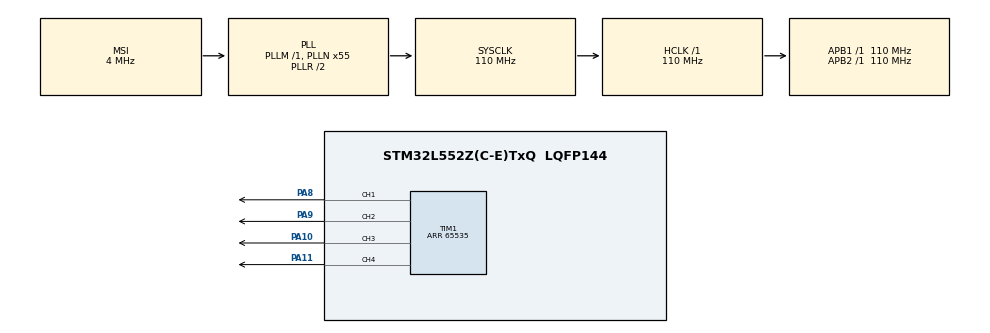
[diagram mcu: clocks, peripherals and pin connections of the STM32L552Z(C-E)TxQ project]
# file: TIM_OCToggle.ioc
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Mcu.Family=STM32L5
Mcu.Name=STM32L552Z(C-E)TxQ
Mcu.Package=LQFP144
NVIC.PriorityGroup=NVIC_PRIORITYGROUP_3
NVIC.TIM1_CC_IRQn=true\:0\:0\:false\:false\:true\:true\:true\:true
PA10.GPIO_PuPd=GPIO_PULLUP
PA10.GPIO_Speed=GPIO_SPEED_FREQ_VERY_HIGH
PA10.Signal=S_TIM1_CH3
PA11.GPIO_PuPd=GPIO_PULLUP
PA11.GPIO_Speed=GPIO_SPEED_FREQ_VERY_HIGH
PA11.Signal=S_TIM1_CH4
PA8.GPIO_PuPd=GPIO_PULLUP
PA8.GPIO_Speed=GPIO_SPEED_FREQ_VERY_HIGH
PA8.Signal=S_TIM1_CH1
PA9.GPIO_PuPd=GPIO_PULLUP
PA9.GPIO_Speed=GPIO_SPEED_FREQ_VERY_HIGH
PA9.Signal=S_TIM1_CH2
ProjectManager.HeapSize=0x200
ProjectManager.StackSize=0x400
ProjectManager.TargetToolchain=EWARM V8.32
RCC.ADCFreq_Value=48000000
RCC.AHBFreq_Value=110000000
RCC.APB1Freq_Value=110000000
RCC.APB1TimFreq_Value=110000000
RCC.APB2Freq_Value=110000000
RCC.APB2TimFreq_Value=110000000
RCC.CortexFreq_Value=110000000
RCC.DATA_CACHE_ENABLE=0
RCC.HCLKFreq_Value=110000000
RCC.HSE_VALUE=16000000
RCC.HSI48_VALUE=48000000
RCC.HSI_VALUE=16000000
RCC.INSTRUCTION_CACHE_ENABLE=0
RCC.LSE_VALUE=32768
RCC.MSI_VALUE=4000000
RCC.PLLN=55
RCC.PLLSAI1N=24
RCC.RTCClockSelection=RCC_RTCCLKSOURCE_LSE
RCC.SYSCLKFreq_VALUE=110000000
RCC.SYSCLKSource=RCC_SYSCLKSOURCE_PLLCLK
RCC.USBFreq_Value=48000000
RCC.VCOOutputFreq_Value=220000000
SH.S_TIM1_CH1.0=TIM1_CH1,Output Compare1 CH1
SH.S_TIM1_CH2.0=TIM1_CH2,Output Compare2 CH2
SH.S_TIM1_CH3.0=TIM1_CH3,Output Compare3 CH3
SH.S_TIM1_CH4.0=TIM1_CH4,Output Compare4 CH4
TIM1.AutoReloadPreload=TIM_AUTORELOAD_PRELOAD_DISABLE
TIM1.AutomaticOutput=TIM_AUTOMATICOUTPUT_DISABLE
TIM1.Break2Filter=0
TIM1.Break2Polarity=TIM_BREAK2POLARITY_HIGH
TIM1.Break2State=TIM_BREAK2_DISABLE
TIM1.BreakFilter=0
TIM1.BreakPolarity=TIM_BREAKPOLARITY_HIGH
TIM1.BreakState=TIM_BREAK_DISABLE
TIM1.Channel-Output\ Compare1\ CH1=TIM_CHANNEL_1
TIM1.Channel-Output\ Compare2\ CH2=TIM_CHANNEL_2
TIM1.Channel-Output\ Compare3\ CH3=TIM_CHANNEL_3
TIM1.Channel-Output\ Compare4\ CH4=TIM_CHANNEL_4
TIM1.ClearInputSource=TIM_CLEARINPUTSOURCE_NONE
TIM1.ClockDivision=TIM_CLOCKDIVISION_DIV1
TIM1.CounterMode=TIM_COUNTERMODE_UP
TIM1.LockLevel=TIM_LOCKLEVEL_OFF
TIM1.OCIdleState_1=TIM_OCIDLESTATE_RESET
TIM1.OCIdleState_2=TIM_OCIDLESTATE_RESET
TIM1.OCIdleState_3=TIM_OCIDLESTATE_RESET
TIM1.OCIdleState_4=TIM_OCIDLESTATE_RESET
TIM1.OCMode_1=TIM_OCMODE_TOGGLE
TIM1.OCMode_2=TIM_OCMODE_TOGGLE
TIM1.OCMode_3=TIM_OCMODE_TOGGLE
TIM1.OCMode_4=TIM_OCMODE_TOGGLE
TIM1.OCPolarity_1=TIM_OCPOLARITY_LOW
TIM1.OCPolarity_2=TIM_OCPOLARITY_LOW
TIM1.OCPolarity_3=TIM_OCPOLARITY_LOW
TIM1.OCPolarity_4=TIM_OCPOLARITY_LOW
TIM1.OffStateIDLEMode=TIM_OSSI_DISABLE
TIM1.OffStateRunMode=TIM_OSSR_DISABLE
TIM1.Period=65535
TIM1.Prescaler=PRESCALER_VALUE
TIM1.Pulse-Output\ Compare1\ CH1=PULSE1_VALUE
TIM1.Pulse-Output\ Compare2\ CH2=PULSE2_VALUE
TIM1.Pulse-Output\ Compare3\ CH3=PULSE3_VALUE
TIM1.Pulse-Output\ Compare4\ CH4=PULSE4_VALUE
TIM1.RepetitionCounter=0
TIM1.SourceBRK2COMP1=TIM_BREAKINPUTSOURCE_DISABLE
TIM1.SourceBRK2COMP2=TIM_BREAKINPUTSOURCE_DISABLE
TIM1.SourceBRK2DFSDM1=TIM_BREAKINPUTSOURCE_DISABLE
TIM1.SourceBRK2DigInput=TIM_BREAKINPUTSOURCE_DISABLE
TIM1.SourceBRKCOMP1=TIM_BREAKINPUTSOURCE_DISABLE
TIM1.SourceBRKCOMP2=TIM_BREAKINPUTSOURCE_DISABLE
TIM1.SourceBRKDFSDM1=TIM_BREAKINPUTSOURCE_DISABLE
TIM1.SourceBRKDigInput=TIM_BREAKINPUTSOURCE_DISABLE
TIM1.TIM_MasterOutputTrigger=TIM_TRGO_RESET
TIM1.TIM_MasterOutputTrigger2=TIM_TRGO2_RESET
TIM1.TIM_MasterSlaveMode=TIM_MASTERSLAVEMODE_DISABLE
VP_ICACHE_VS_ICACHE.Mode=DirectMappedCache
VP_PWR_VS_DBSignals.Mode=DisableDeadBatterySignals
board=custom

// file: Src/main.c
/* USER CODE BEGIN Header */
/**
  ******************************************************************************
  * @file    TIM/TIM_OCToggle/Src/main.c
  * @author  MCD Application Team
  * @brief   This example shows how to configure the Timer to generate four different
  *          signals with four different frequencies.
  ******************************************************************************
  * @attention
  *
  * Copyright (c) 2019 STMicroelectronics.
  * All rights reserved.
  *
  * This software is licensed under terms that can be found in the LICENSE file
  * in the root directory of this software component.
  * If no LICENSE file comes with this software, it is provided AS-IS.
  *
  ******************************************************************************
  */
/* USER CODE END Header */
#include "main.h"

TIM_HandleTypeDef htim1;

void SystemClock_Config(void);
static void MX_GPIO_Init(void);
static void MX_ICACHE_Init(void);
static void MX_TIM1_Init(void);

int main(void)
{
  /* USER CODE BEGIN 1 */

  /* STM32L5xx HAL library initialization:
       - Systick timer is configured by default as source of time base, but user
         can eventually implement his proper time base source (a general purpose
         timer for example or other time source), keeping in mind that Time base
         duration should be kept 1ms since PPP_TIMEOUT_VALUEs are defined and
         handled in milliseconds basis.
       - Set NVIC Group Priority to 3
       - Low Level Initialization
     */
  /* USER CODE END 1 */

  /* MCU Configuration--------------------------------------------------------*/

  /* Reset of all peripherals, Initializes the Flash interface and the Systick. */
  HAL_Init();

  /* Configure the system clock */
  SystemClock_Config();

  /* USER CODE BEGIN SysInit */

  /* Configure LED3 */
  BSP_LED_Init(LED3);

  /* USER CODE END SysInit */

  /* Initialize all configured peripherals */
  MX_GPIO_Init();
  MX_ICACHE_Init();
  MX_TIM1_Init();
  /* USER CODE BEGIN 2 */

  /*## Start signals generation #######################################*/
  /* Start channel 1 in Output compare mode */
  if(HAL_TIM_OC_Start_IT(&htim1, TIM_CHANNEL_1) != HAL_OK)
  {
    /* Starting Error */
    Error_Handler();
  }
  /* Start channel 2 in Output compare mode */
  if(HAL_TIM_OC_Start_IT(&htim1, TIM_CHANNEL_2) != HAL_OK)
  {
    /* Starting Error */
    Error_Handler();
  }
  /* Start channel 3 in Output compare mode */
  if(HAL_TIM_OC_Start_IT(&htim1, TIM_CHANNEL_3) != HAL_OK)
  {
    /* Starting Error */
    Error_Handler();
  }
  /* Start channel 4 in Output compare mode */
  if(HAL_TIM_OC_Start_IT(&htim1, TIM_CHANNEL_4) != HAL_OK)
  {
    /* Starting Error */
    Error_Handler();
  }
  /* USER CODE END 2 */

  /* Infinite loop */
  while (1)
  {

  }
}

void SystemClock_Config(void)
{
  RCC_OscInitTypeDef RCC_OscInitStruct = {0};
  RCC_ClkInitTypeDef RCC_ClkInitStruct = {0};

  /** Configure the main internal regulator output voltage
  */
  if (HAL_PWREx_ControlVoltageScaling(PWR_REGULATOR_VOLTAGE_SCALE0) != HAL_OK)
  {
    Error_Handler();
  }

  /** Initializes the RCC Oscillators according to the specified parameters
  * in the RCC_OscInitTypeDef structure.
  */
  RCC_OscInitStruct.OscillatorType = RCC_OSCILLATORTYPE_MSI;
  RCC_OscInitStruct.MSIState = RCC_MSI_ON;
  RCC_OscInitStruct.MSICalibrationValue = RCC_MSICALIBRATION_DEFAULT;
  RCC_OscInitStruct.MSIClockRange = RCC_MSIRANGE_6;
  RCC_OscInitStruct.PLL.PLLState = RCC_PLL_ON;
  RCC_OscInitStruct.PLL.PLLSource = RCC_PLLSOURCE_MSI;
  RCC_OscInitStruct.PLL.PLLM = 1;
  RCC_OscInitStruct.PLL.PLLN = 55;
  RCC_OscInitStruct.PLL.PLLP = RCC_PLLP_DIV7;
  RCC_OscInitStruct.PLL.PLLQ = RCC_PLLQ_DIV2;
  RCC_OscInitStruct.PLL.PLLR = RCC_PLLR_DIV2;
  if (HAL_RCC_OscConfig(&RCC_OscInitStruct) != HAL_OK)
  {
    Error_Handler();
  }

  /** Initializes the CPU, AHB and APB buses clocks
  */
  RCC_ClkInitStruct.ClockType = RCC_CLOCKTYPE_HCLK|RCC_CLOCKTYPE_SYSCLK
                              |RCC_CLOCKTYPE_PCLK1|RCC_CLOCKTYPE_PCLK2;
  RCC_ClkInitStruct.SYSCLKSource = RCC_SYSCLKSOURCE_PLLCLK;
  RCC_ClkInitStruct.AHBCLKDivider = RCC_SYSCLK_DIV1;
  RCC_ClkInitStruct.APB1CLKDivider = RCC_HCLK_DIV1;
  RCC_ClkInitStruct.APB2CLKDivider = RCC_HCLK_DIV1;

  if (HAL_RCC_ClockConfig(&RCC_ClkInitStruct, FLASH_LATENCY_5) != HAL_OK)
  {
    Error_Handler();
  }
}

static void MX_ICACHE_Init(void)
{

  /** Enable instruction cache in 1-way (direct mapped cache)
  */
  if (HAL_ICACHE_ConfigAssociativityMode(ICACHE_1WAY) != HAL_OK)
  {
    Error_Handler();
  }
  if (HAL_ICACHE_Enable() != HAL_OK)
  {
    Error_Handler();
  }

}

static void MX_TIM1_Init(void)
{

  TIM_MasterConfigTypeDef sMasterConfig = {0};
  TIM_OC_InitTypeDef sConfigOC = {0};
  TIM_BreakDeadTimeConfigTypeDef sBreakDeadTimeConfig = {0};

  htim1.Instance = TIM1;
  htim1.Init.Prescaler = PRESCALER_VALUE;
  htim1.Init.CounterMode = TIM_COUNTERMODE_UP;
  htim1.Init.Period = 65535;
  htim1.Init.ClockDivision = TIM_CLOCKDIVISION_DIV1;
  htim1.Init.RepetitionCounter = 0;
  htim1.Init.AutoReloadPreload = TIM_AUTORELOAD_PRELOAD_DISABLE;
  if (HAL_TIM_OC_Init(&htim1) != HAL_OK)
  {
    Error_Handler();
  }
  sMasterConfig.MasterOutputTrigger = TIM_TRGO_RESET;
  sMasterConfig.MasterOutputTrigger2 = TIM_TRGO2_RESET;
  sMasterConfig.MasterSlaveMode = TIM_MASTERSLAVEMODE_DISABLE;
  if (HAL_TIMEx_MasterConfigSynchronization(&htim1, &sMasterConfig) != HAL_OK)
  {
    Error_Handler();
  }
  sConfigOC.OCMode = TIM_OCMODE_TOGGLE;
  sConfigOC.Pulse = PULSE1_VALUE;
  sConfigOC.OCPolarity = TIM_OCPOLARITY_LOW;
  sConfigOC.OCNPolarity = TIM_OCNPOLARITY_HIGH;
  sConfigOC.OCFastMode = TIM_OCFAST_DISABLE;
  sConfigOC.OCIdleState = TIM_OCIDLESTATE_RESET;
  sConfigOC.OCNIdleState = TIM_OCNIDLESTATE_RESET;
  if (HAL_TIM_OC_ConfigChannel(&htim1, &sConfigOC, TIM_CHANNEL_1) != HAL_OK)
  {
    Error_Handler();
  }
  sConfigOC.Pulse = PULSE2_VALUE;
  if (HAL_TIM_OC_ConfigChannel(&htim1, &sConfigOC, TIM_CHANNEL_2) != HAL_OK)
  {
    Error_Handler();
  }
  sConfigOC.Pulse = PULSE3_VALUE;
  if (HAL_TIM_OC_ConfigChannel(&htim1, &sConfigOC, TIM_CHANNEL_3) != HAL_OK)
  {
    Error_Handler();
  }
  sConfigOC.Pulse = PULSE4_VALUE;
  if (HAL_TIM_OC_ConfigChannel(&htim1, &sConfigOC, TIM_CHANNEL_4) != HAL_OK)
  {
    Error_Handler();
  }
  sBreakDeadTimeConfig.OffStateRunMode = TIM_OSSR_DISABLE;
  sBreakDeadTimeConfig.OffStateIDLEMode = TIM_OSSI_DISABLE;
  sBreakDeadTimeConfig.LockLevel = TIM_LOCKLEVEL_OFF;
  sBreakDeadTimeConfig.DeadTime = 0;
  sBreakDeadTimeConfig.BreakState = TIM_BREAK_DISABLE;
  sBreakDeadTimeConfig.BreakPolarity = TIM_BREAKPOLARITY_HIGH;
  sBreakDeadTimeConfig.BreakFilter = 0;
  sBreakDeadTimeConfig.BreakAFMode = TIM_BREAK_AFMODE_INPUT;
  sBreakDeadTimeConfig.Break2State = TIM_BREAK2_DISABLE;
  sBreakDeadTimeConfig.Break2Polarity = TIM_BREAK2POLARITY_HIGH;
  sBreakDeadTimeConfig.Break2Filter = 0;
  sBreakDeadTimeConfig.Break2AFMode = TIM_BREAK_AFMODE_INPUT;
  sBreakDeadTimeConfig.AutomaticOutput = TIM_AUTOMATICOUTPUT_DISABLE;
  if (HAL_TIMEx_ConfigBreakDeadTime(&htim1, &sBreakDeadTimeConfig) != HAL_OK)
  {
    Error_Handler();
  }
  HAL_TIM_MspPostInit(&htim1);

}

static void MX_GPIO_Init(void)
{

  /* GPIO Ports Clock Enable */
  __HAL_RCC_GPIOA_CLK_ENABLE();

}

/* USER CODE BEGIN 4 */

/**
  * @brief  Output Compare callback in non blocking mode
  * @param  htim : TIM OC handle
  * @retval None
  */
void HAL_TIM_OC_DelayElapsedCallback(TIM_HandleTypeDef *htim)
{
  uint16_t autoreload_value;
  uint32_t uhCapture = 0;

  /* Get configured autoreload value */
  autoreload_value = __HAL_TIM_GET_AUTORELOAD(htim);

  /* TIM1_CH1 toggling with frequency = 800 Hz */
  if(htim->Channel == HAL_TIM_ACTIVE_CHANNEL_1)
  {
    uhCapture = HAL_TIM_ReadCapturedValue(htim, TIM_CHANNEL_1);

    /* Set the Capture Compare Register value */
    if (uhCapture + PULSE1_VALUE < autoreload_value)
    {
      __HAL_TIM_SET_COMPARE(htim, TIM_CHANNEL_1, (uhCapture + PULSE1_VALUE));
    }
    else
    {
      __HAL_TIM_SET_COMPARE(htim, TIM_CHANNEL_1, (uhCapture + PULSE1_VALUE) - autoreload_value);
    }
  }

  /* TIM1_CH2 toggling with frequency = 400 Hz */
  if(htim->Channel == HAL_TIM_ACTIVE_CHANNEL_2)
  {
    uhCapture = HAL_TIM_ReadCapturedValue(htim, TIM_CHANNEL_2);

    /* Set the Capture Compare Register value */
    if (uhCapture + PULSE2_VALUE < autoreload_value)
    {
      __HAL_TIM_SET_COMPARE(htim, TIM_CHANNEL_2, (uhCapture + PULSE2_VALUE));
    }
    else
    {
      __HAL_TIM_SET_COMPARE(htim, TIM_CHANNEL_2, (uhCapture + PULSE2_VALUE) - autoreload_value);
    }
  }

  /* TIM1_CH3 toggling with frequency = 200 Hz */
  if(htim->Channel == HAL_TIM_ACTIVE_CHANNEL_3)
  {
    uhCapture = HAL_TIM_ReadCapturedValue(htim, TIM_CHANNEL_3);

    /* Set the Capture Compare Register value */
    if (uhCapture + PULSE3_VALUE < autoreload_value)
    {
      __HAL_TIM_SET_COMPARE(htim, TIM_CHANNEL_3, (uhCapture + PULSE3_VALUE));
    }
    else
    {
      __HAL_TIM_SET_COMPARE(htim, TIM_CHANNEL_3, (uhCapture + PULSE3_VALUE) - autoreload_value);
    }
  }

  /* TIM1_CH4 toggling with frequency = 100 Hz */
  if(htim->Channel == HAL_TIM_ACTIVE_CHANNEL_4)
  {
    uhCapture = HAL_TIM_ReadCapturedValue(htim, TIM_CHANNEL_4);

    /* Set the Capture Compare Register value */
    if (uhCapture + PULSE4_VALUE < autoreload_value)
    {
      __HAL_TIM_SET_COMPARE(htim, TIM_CHANNEL_4, (uhCapture + PULSE4_VALUE));
    }
    else
    {
      __HAL_TIM_SET_COMPARE(htim, TIM_CHANNEL_4, (uhCapture + PULSE4_VALUE) - autoreload_value);
    }
  }
}

/* USER CODE END 4 */

void Error_Handler(void)
{
  /* USER CODE BEGIN Error_Handler_Debug */
  /* Turn LED3 on */
  BSP_LED_On(LED3);
  while(1)
  {
  }
  /* USER CODE END Error_Handler_Debug */
}
